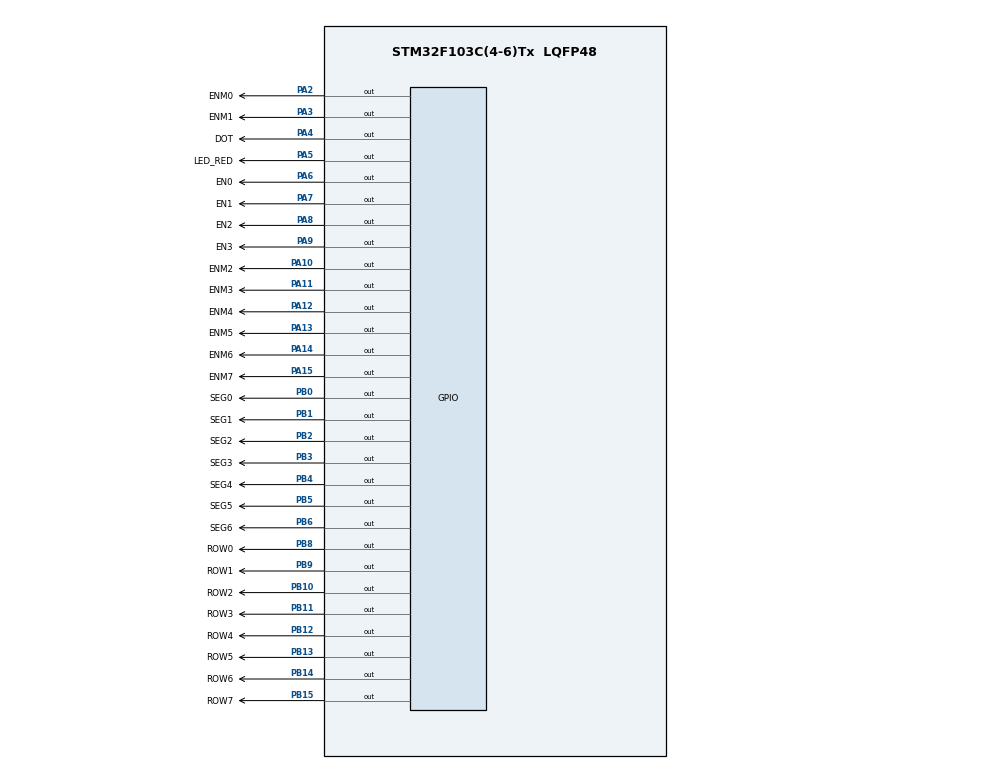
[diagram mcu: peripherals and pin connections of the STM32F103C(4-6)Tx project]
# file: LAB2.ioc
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Mcu.Family=STM32F1
Mcu.Name=STM32F103C(4-6)Tx
Mcu.Package=LQFP48
NVIC.PriorityGroup=NVIC_PRIORITYGROUP_4
NVIC.TIM2_IRQn=true\:0\:0\:false\:false\:true\:true\:true
PA10.GPIO_Label=ENM2
PA10.Signal=GPIO_Output
PA11.GPIO_Label=ENM3
PA11.Signal=GPIO_Output
PA12.GPIO_Label=ENM4
PA12.Signal=GPIO_Output
PA13.GPIO_Label=ENM5
PA13.Signal=GPIO_Output
PA14.GPIO_Label=ENM6
PA14.Signal=GPIO_Output
PA15.GPIO_Label=ENM7
PA15.Signal=GPIO_Output
PA2.GPIO_Label=ENM0
PA2.Signal=GPIO_Output
PA3.GPIO_Label=ENM1
PA3.Signal=GPIO_Output
PA4.GPIO_Label=DOT
PA4.Signal=GPIO_Output
PA5.GPIO_Label=LED_RED
PA5.Signal=GPIO_Output
PA6.GPIO_Label=EN0
PA6.Signal=GPIO_Output
PA7.GPIO_Label=EN1
PA7.Signal=GPIO_Output
PA8.GPIO_Label=EN2
PA8.Signal=GPIO_Output
PA9.GPIO_Label=EN3
PA9.Signal=GPIO_Output
PB0.GPIO_Label=SEG0
PB0.Signal=GPIO_Output
PB1.GPIO_Label=SEG1
PB1.Signal=GPIO_Output
PB10.GPIO_Label=ROW2
PB10.Signal=GPIO_Output
PB11.GPIO_Label=ROW3
PB11.Signal=GPIO_Output
PB12.GPIO_Label=ROW4
PB12.Signal=GPIO_Output
PB13.GPIO_Label=ROW5
PB13.Signal=GPIO_Output
PB14.GPIO_Label=ROW6
PB14.Signal=GPIO_Output
PB15.GPIO_Label=ROW7
PB15.Signal=GPIO_Output
PB2.GPIO_Label=SEG2
PB2.Signal=GPIO_Output
PB3.GPIO_Label=SEG3
PB3.Signal=GPIO_Output
PB4.GPIO_Label=SEG4
PB4.Signal=GPIO_Output
PB5.GPIO_Label=SEG5
PB5.Signal=GPIO_Output
PB6.GPIO_Label=SEG6
PB6.Signal=GPIO_Output
PB8.GPIO_Label=ROW0
PB8.Signal=GPIO_Output
PB9.GPIO_Label=ROW1
PB9.Signal=GPIO_Output
ProjectManager.HeapSize=0x200
ProjectManager.StackSize=0x400
ProjectManager.TargetToolchain=STM32CubeIDE
RCC.APB1Freq_Value=8000000
RCC.APB2Freq_Value=8000000
TIM2.Period=9
TIM2.Prescaler=7999
VP_SYS_VS_ND.Mode=No_Debug
VP_TIM2_VS_ClockSourceINT.Mode=Internal
board=custom

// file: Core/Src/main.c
/* USER CODE BEGIN Header */
/**
  ******************************************************************************
  * @file           : main.c
  * @brief          : Main program body
  ******************************************************************************
  * @attention
  *
  * <h2><center>&copy; Copyright (c) 2024 STMicroelectronics.
  * All rights reserved.</center></h2>
  *
  * This software component is licensed by ST under BSD 3-Clause license,
  * the "License"; You may not use this file except in compliance with the
  * License. You may obtain a copy of the License at:
  *                        opensource.org/licenses/BSD-3-Clause
  *
  ******************************************************************************
  */
/* USER CODE END Header */
#include "main.h"

/* USER CODE BEGIN Includes */
#include  "Timer.h"
#include "Ex9.h"
/* USER CODE END Includes */

TIM_HandleTypeDef htim2;

void SystemClock_Config(void);
static void MX_TIM2_Init(void);
static void MX_GPIO_Init(void);

int main(void)
{

  /* MCU Configuration--------------------------------------------------------*/

  /* Reset of all peripherals, Initializes the Flash interface and the Systick. */
  HAL_Init();

  /* Configure the system clock */
  SystemClock_Config();

  /* Initialize all configured peripherals */
  MX_TIM2_Init();
  MX_GPIO_Init();
  /* USER CODE BEGIN 2 */
  HAL_TIM_Base_Start_IT (& htim2 );
  setTimer(0, 1000);
  setTimer(1, 250);
  setTimer(2, 10);
  setTimer(3, 60);
  Ex5Init();
  /* USER CODE END 2 */

  /* Infinite loop */
  /* USER CODE BEGIN WHILE */
  while (1)
  {
	  	 if(timer_flag[0] == 1){
	 		 DotToggle();
	 		 Ex5();
	 		 setTimer(0, 1000);
	 	 }
	 	 if(timer_flag[1] == 1){
	 		 if(index_led >= 4)
	 			 index_led = 0;
	 		 update7SEG(index_led++);
	 		 setTimer(1, 250);
	 	 }
	 	 if (timer_flag[2] == 1){
	 		 if (index_led_matrix >= 8)
	 			 index_led_matrix = 0;
	 		 LEDMatrixUpdate(index_led_matrix++);
	 		 setTimer(2, 13);
	 	 }
	 	 if (timer_flag[3] == 1){
	 			shiftMatrix();
	 			setTimer(3, 60);
	 	 }
    /* USER CODE END WHILE */

  }
}

void SystemClock_Config(void)
{
  RCC_OscInitTypeDef RCC_OscInitStruct = {0};
  RCC_ClkInitTypeDef RCC_ClkInitStruct = {0};

  /** Initializes the RCC Oscillators according to the specified parameters
  * in the RCC_OscInitTypeDef structure.
  */
  RCC_OscInitStruct.OscillatorType = RCC_OSCILLATORTYPE_HSI;
  RCC_OscInitStruct.HSIState = RCC_HSI_ON;
  RCC_OscInitStruct.HSICalibrationValue = RCC_HSICALIBRATION_DEFAULT;
  RCC_OscInitStruct.PLL.PLLState = RCC_PLL_NONE;
  if (HAL_RCC_OscConfig(&RCC_OscInitStruct) != HAL_OK)
  {
    Error_Handler();
  }
  /** Initializes the CPU, AHB and APB buses clocks
  */
  RCC_ClkInitStruct.ClockType = RCC_CLOCKTYPE_HCLK|RCC_CLOCKTYPE_SYSCLK
                              |RCC_CLOCKTYPE_PCLK1|RCC_CLOCKTYPE_PCLK2;
  RCC_ClkInitStruct.SYSCLKSource = RCC_SYSCLKSOURCE_HSI;
  RCC_ClkInitStruct.AHBCLKDivider = RCC_SYSCLK_DIV1;
  RCC_ClkInitStruct.APB1CLKDivider = RCC_HCLK_DIV1;
  RCC_ClkInitStruct.APB2CLKDivider = RCC_HCLK_DIV1;

  if (HAL_RCC_ClockConfig(&RCC_ClkInitStruct, FLASH_LATENCY_0) != HAL_OK)
  {
    Error_Handler();
  }
}

static void MX_TIM2_Init(void)
{

  TIM_ClockConfigTypeDef sClockSourceConfig = {0};
  TIM_MasterConfigTypeDef sMasterConfig = {0};

  htim2.Instance = TIM2;
  htim2.Init.Prescaler = 7999;
  htim2.Init.CounterMode = TIM_COUNTERMODE_UP;
  htim2.Init.Period = 9;
  htim2.Init.ClockDivision = TIM_CLOCKDIVISION_DIV1;
  htim2.Init.AutoReloadPreload = TIM_AUTORELOAD_PRELOAD_DISABLE;
  if (HAL_TIM_Base_Init(&htim2) != HAL_OK)
  {
    Error_Handler();
  }
  sClockSourceConfig.ClockSource = TIM_CLOCKSOURCE_INTERNAL;
  if (HAL_TIM_ConfigClockSource(&htim2, &sClockSourceConfig) != HAL_OK)
  {
    Error_Handler();
  }
  sMasterConfig.MasterOutputTrigger = TIM_TRGO_RESET;
  sMasterConfig.MasterSlaveMode = TIM_MASTERSLAVEMODE_DISABLE;
  if (HAL_TIMEx_MasterConfigSynchronization(&htim2, &sMasterConfig) != HAL_OK)
  {
    Error_Handler();
  }

}

static void MX_GPIO_Init(void)
{
  GPIO_InitTypeDef GPIO_InitStruct = {0};

  /* GPIO Ports Clock Enable */
  __HAL_RCC_GPIOA_CLK_ENABLE();
  __HAL_RCC_GPIOB_CLK_ENABLE();

  /*Configure GPIO pin Output Level */
  HAL_GPIO_WritePin(GPIOA, ENM0_Pin|ENM1_Pin|DOT_Pin|LED_RED_Pin
                          |EN0_Pin|EN1_Pin|EN2_Pin|EN3_Pin
                          |ENM2_Pin|ENM3_Pin|ENM4_Pin|ENM5_Pin
                          |ENM6_Pin|ENM7_Pin, GPIO_PIN_RESET);

  /*Configure GPIO pin Output Level */
  HAL_GPIO_WritePin(GPIOB, SEG0_Pin|SEG1_Pin|SEG2_Pin|ROW2_Pin
                          |ROW3_Pin|ROW4_Pin|ROW5_Pin|ROW6_Pin
                          |ROW7_Pin|SEG3_Pin|SEG4_Pin|SEG5_Pin
                          |SEG6_Pin|ROW0_Pin|ROW1_Pin, GPIO_PIN_RESET);

  /*Configure GPIO pins : ENM0_Pin ENM1_Pin DOT_Pin LED_RED_Pin
                           EN0_Pin EN1_Pin EN2_Pin EN3_Pin
                           ENM2_Pin ENM3_Pin ENM4_Pin ENM5_Pin
                           ENM6_Pin ENM7_Pin */
  GPIO_InitStruct.Pin = ENM0_Pin|ENM1_Pin|DOT_Pin|LED_RED_Pin
                          |EN0_Pin|EN1_Pin|EN2_Pin|EN3_Pin
                          |ENM2_Pin|ENM3_Pin|ENM4_Pin|ENM5_Pin
                          |ENM6_Pin|ENM7_Pin;
  GPIO_InitStruct.Mode = GPIO_MODE_OUTPUT_PP;
  GPIO_InitStruct.Pull = GPIO_NOPULL;
  GPIO_InitStruct.Speed = GPIO_SPEED_FREQ_LOW;
  HAL_GPIO_Init(GPIOA, &GPIO_InitStruct);

  /*Configure GPIO pins : SEG0_Pin SEG1_Pin SEG2_Pin ROW2_Pin
                           ROW3_Pin ROW4_Pin ROW5_Pin ROW6_Pin
                           ROW7_Pin SEG3_Pin SEG4_Pin SEG5_Pin
                           SEG6_Pin ROW0_Pin ROW1_Pin */
  GPIO_InitStruct.Pin = SEG0_Pin|SEG1_Pin|SEG2_Pin|ROW2_Pin
                          |ROW3_Pin|ROW4_Pin|ROW5_Pin|ROW6_Pin
                          |ROW7_Pin|SEG3_Pin|SEG4_Pin|SEG5_Pin
                          |SEG6_Pin|ROW0_Pin|ROW1_Pin;
  GPIO_InitStruct.Mode = GPIO_MODE_OUTPUT_PP;
  GPIO_InitStruct.Pull = GPIO_NOPULL;
  GPIO_InitStruct.Speed = GPIO_SPEED_FREQ_LOW;
  HAL_GPIO_Init(GPIOB, &GPIO_InitStruct);

}

/* USER CODE BEGIN 4 */
void HAL_TIM_PeriodElapsedCallback(TIM_HandleTypeDef *htim){
	TimerRun(0);
	TimerRun(1);
	TimerRun(2);
	TimerRun(3);
}
/* USER CODE END 4 */

void Error_Handler(void)
{
  __disable_irq();
  while (1)
  {
  }
}

/************************ (C) COPYRIGHT STMicroelectronics *****END OF FILE****/
